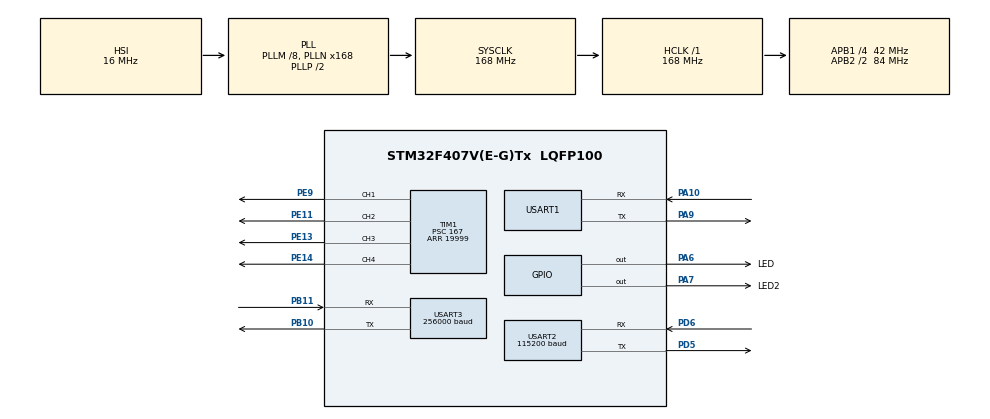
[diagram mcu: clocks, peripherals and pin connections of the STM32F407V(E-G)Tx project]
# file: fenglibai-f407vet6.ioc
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Dma.Request0=USART1_RX
Dma.Request1=USART2_TX
Dma.USART1_RX.0.Direction=DMA_PERIPH_TO_MEMORY
Dma.USART1_RX.0.FIFOMode=DMA_FIFOMODE_DISABLE
Dma.USART1_RX.0.Instance=DMA2_Stream2
Dma.USART1_RX.0.MemDataAlignment=DMA_MDATAALIGN_BYTE
Dma.USART1_RX.0.MemInc=DMA_MINC_ENABLE
Dma.USART1_RX.0.Mode=DMA_CIRCULAR
Dma.USART1_RX.0.PeriphDataAlignment=DMA_PDATAALIGN_BYTE
Dma.USART1_RX.0.PeriphInc=DMA_PINC_DISABLE
Dma.USART1_RX.0.Priority=DMA_PRIORITY_HIGH
Dma.USART2_TX.1.Direction=DMA_MEMORY_TO_PERIPH
Dma.USART2_TX.1.FIFOMode=DMA_FIFOMODE_ENABLE
Dma.USART2_TX.1.FIFOThreshold=DMA_FIFO_THRESHOLD_FULL
Dma.USART2_TX.1.Instance=DMA1_Stream6
Dma.USART2_TX.1.MemBurst=DMA_MBURST_SINGLE
Dma.USART2_TX.1.MemDataAlignment=DMA_MDATAALIGN_BYTE
Dma.USART2_TX.1.MemInc=DMA_MINC_ENABLE
Dma.USART2_TX.1.Mode=DMA_NORMAL
Dma.USART2_TX.1.PeriphBurst=DMA_PBURST_SINGLE
Dma.USART2_TX.1.PeriphDataAlignment=DMA_PDATAALIGN_BYTE
Dma.USART2_TX.1.PeriphInc=DMA_PINC_DISABLE
Dma.USART2_TX.1.Priority=DMA_PRIORITY_LOW
Mcu.Family=STM32F4
Mcu.Name=STM32F407V(E-G)Tx
Mcu.Package=LQFP100
NVIC.DMA1_Stream6_IRQn=true\:0\:0\:false\:false\:true\:false\:true
NVIC.DMA2_Stream2_IRQn=true\:0\:0\:false\:false\:true\:false\:true
NVIC.PriorityGroup=NVIC_PRIORITYGROUP_4
NVIC.TIM2_IRQn=true\:0\:0\:false\:false\:true\:true\:true
NVIC.USART1_IRQn=true\:0\:0\:false\:false\:false\:true\:true
NVIC.USART2_IRQn=true\:0\:0\:false\:false\:false\:true\:true
NVIC.USART3_IRQn=true\:0\:0\:false\:false\:false\:true\:true
PA10.Mode=Asynchronous
PA10.Signal=USART1_RX
PA13.Mode=Serial_Wire
PA13.Signal=SYS_JTMS-SWDIO
PA14.Mode=Serial_Wire
PA14.Signal=SYS_JTCK-SWCLK
PA6.GPIO_Label=LED
PA6.PinState=GPIO_PIN_SET
PA6.Signal=GPIO_Output
PA7.GPIO_Label=LED2
PA7.PinState=GPIO_PIN_SET
PA7.Signal=GPIO_Output
PA9.Mode=Asynchronous
PA9.Signal=USART1_TX
PB10.Mode=Asynchronous
PB10.Signal=USART3_TX
PB11.Mode=Asynchronous
PB11.Signal=USART3_RX
PC14-OSC32_IN.Mode=LSE-External-Oscillator
PC14-OSC32_IN.Signal=RCC_OSC32_IN
PC15-OSC32_OUT.Mode=LSE-External-Oscillator
PC15-OSC32_OUT.Signal=RCC_OSC32_OUT
PD5.Mode=Asynchronous
PD5.Signal=USART2_TX
PD6.Mode=Asynchronous
PD6.Signal=USART2_RX
PE11.Signal=S_TIM1_CH2
PE13.Signal=S_TIM1_CH3
PE14.Signal=S_TIM1_CH4
PE9.Signal=S_TIM1_CH1
PH0-OSC_IN.Mode=HSE-External-Oscillator
PH0-OSC_IN.Signal=RCC_OSC_IN
PH1-OSC_OUT.Mode=HSE-External-Oscillator
PH1-OSC_OUT.Signal=RCC_OSC_OUT
ProjectManager.HeapSize=0x200
ProjectManager.StackSize=0x400
ProjectManager.TargetToolchain=MDK-ARM V5
RCC.48MHZClocksFreq_Value=84000000
RCC.AHBFreq_Value=168000000
RCC.APB1CLKDivider=RCC_HCLK_DIV4
RCC.APB1Freq_Value=42000000
RCC.APB1TimFreq_Value=84000000
RCC.APB2CLKDivider=RCC_HCLK_DIV2
RCC.APB2Freq_Value=84000000
RCC.APB2TimFreq_Value=168000000
RCC.CortexFreq_Value=168000000
RCC.HCLKFreq_Value=168000000
RCC.HSE_VALUE=8000000
RCC.HSI_VALUE=16000000
RCC.PLLM=8
RCC.PLLN=168
RCC.SYSCLKFreq_VALUE=168000000
RCC.SYSCLKSource=RCC_SYSCLKSOURCE_PLLCLK
RCC.VCOOutputFreq_Value=336000000
SH.S_TIM1_CH1.0=TIM1_CH1,PWM Generation1 CH1
SH.S_TIM1_CH2.0=TIM1_CH2,PWM Generation2 CH2
SH.S_TIM1_CH3.0=TIM1_CH3,PWM Generation3 CH3
SH.S_TIM1_CH4.0=TIM1_CH4,PWM Generation4 CH4
TIM1.AutoReloadPreload=TIM_AUTORELOAD_PRELOAD_ENABLE
TIM1.Channel-PWM\ Generation1\ CH1=TIM_CHANNEL_1
TIM1.Channel-PWM\ Generation2\ CH2=TIM_CHANNEL_2
TIM1.Channel-PWM\ Generation3\ CH3=TIM_CHANNEL_3
TIM1.Channel-PWM\ Generation4\ CH4=TIM_CHANNEL_4
TIM1.Period=19999
TIM1.Prescaler=167
TIM1.Pulse-PWM\ Generation1\ CH1=500
TIM1.Pulse-PWM\ Generation2\ CH2=500
TIM1.Pulse-PWM\ Generation3\ CH3=500
TIM1.Pulse-PWM\ Generation4\ CH4=500
TIM2.AutoReloadPreload=TIM_AUTORELOAD_PRELOAD_ENABLE
TIM2.Period=19999
TIM2.Prescaler=167
USART1.VirtualMode=VM_ASYNC
USART2.BaudRate=115200
USART2.VirtualMode=VM_ASYNC
USART3.BaudRate=256000
USART3.VirtualMode=VM_ASYNC
VP_TIM1_VS_ClockSourceINT.Mode=Internal
VP_TIM2_VS_ClockSourceINT.Mode=Internal
board=custom

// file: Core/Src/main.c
/* USER CODE BEGIN Header */
/**
  ******************************************************************************
  * @file           : main.c
  * @brief          : Main program body
  ******************************************************************************
  * @attention
  *
  * <h2><center>&copy; Copyright (c) 2021 STMicroelectronics.
  * All rights reserved.</center></h2>
  *
  * This software component is licensed by ST under BSD 3-Clause license,
  * the "License"; You may not use this file except in compliance with the
  * License. You may obtain a copy of the License at:
  *                        opensource.org/licenses/BSD-3-Clause
  *
  ******************************************************************************
  */
/* USER CODE END Header */
#include "main.h"
#include "dma.h"
#include "tim.h"
#include "usart.h"
#include "gpio.h"

/* USER CODE BEGIN Includes */
#include "math.h"
#include <stdio.h>
#include <string.h>

/* USER CODE END Includes */

/* USER CODE BEGIN PD */

#define LED_ON() HAL_GPIO_WritePin(LED_GPIO_Port, LED_Pin, GPIO_PIN_RESET)
#define LED_OFF() HAL_GPIO_WritePin(LED_GPIO_Port, LED_Pin, GPIO_PIN_SET)
#define LED_TOGGLE() HAL_GPIO_TogglePin(LED_GPIO_Port, LED_Pin)
#define LED2_ON() HAL_GPIO_WritePin(LED2_GPIO_Port, LED2_Pin, GPIO_PIN_RESET)
#define LED2_OFF() HAL_GPIO_WritePin(LED2_GPIO_Port, LED2_Pin, GPIO_PIN_SET)
#define LED2_TOGGLE() HAL_GPIO_TogglePin(LED2_GPIO_Port, LED2_Pin)

/* USER CODE END PD */

void SystemClock_Config(void);
/* USER CODE BEGIN PFP */
void MotorSet(int16_t angle1_pwm, int16_t angle2_pwm);
int16_t PID_angle1(float angle1_cur, float angle1_set);
int16_t PID_angle2(float angle2_cur, float angle2_set);
void _motorset(uint16_t m1, uint16_t m2, uint16_t m3, uint16_t m4);

/* USER CODE END PFP */

/* USER CODE BEGIN 0 */
#define ABS(x)		((x>0)? x: -x)

uint8_t MPUflag=0;
uint8_t MPUBuffer[22];
float MPU_a[3]={0};
float MPU_angle[3]={0};

int16_t angle1_motor=0, angle2_motor=0;

volatile float angle1_p=0, angle1_i=0, angle1_d=340;
volatile float angle2_p=0, angle2_i=0, angle2_d=340;
volatile float angle1_lasterror = 0, angle2_lasterror = 0;
volatile float angle1_sumerror = 0, angle2_sumerror = 0;
volatile float angle1_deadband = 0.1, angle2_deadband = 0.1;

volatile uint8_t mode=0;
float angle1_set=0, angle2_set=0;
volatile uint32_t counter1=0;

/* USER CODE END 0 */

int main(void)
{
  /* USER CODE BEGIN 1 */
//	const uint8_t SendBuffer[4]={0x03,0xFC,0xFC,0x03};  // 帧头

  /* USER CODE END 1 */

  /* MCU Configuration--------------------------------------------------------*/

  /* Reset of all peripherals, Initializes the Flash interface and the Systick. */
  HAL_Init();

  /* Configure the system clock */
  SystemClock_Config();

  /* Initialize all configured peripherals */
  MX_GPIO_Init();
  MX_DMA_Init();
  MX_TIM1_Init();
  MX_USART1_UART_Init();
  MX_USART2_UART_Init();
  MX_USART3_UART_Init();
  MX_TIM2_Init();
  /* USER CODE BEGIN 2 */

/* 	USART1: MPU9250 115200 DMA
		USART2: BLE 115200 DMA
		USART3: PC 256000 */

	My_UART_DMA_Init();
	HAL_TIM_PWM_Start(&htim1,TIM_CHANNEL_1);
	HAL_TIM_PWM_Start(&htim1,TIM_CHANNEL_2);
	HAL_TIM_PWM_Start(&htim1,TIM_CHANNEL_3);
	HAL_TIM_PWM_Start(&htim1,TIM_CHANNEL_4);
	__HAL_TIM_SET_COMPARE(&htim1, TIM_CHANNEL_1, 1000);  // 上电先拉低油门
	__HAL_TIM_SET_COMPARE(&htim1, TIM_CHANNEL_2, 1000);
	__HAL_TIM_SET_COMPARE(&htim1, TIM_CHANNEL_3, 1000);
	__HAL_TIM_SET_COMPARE(&htim1, TIM_CHANNEL_4, 1000);
	HAL_Delay(2000);
	HAL_TIM_Base_Start_IT(&htim2);
  /* USER CODE END 2 */

  /* Infinite loop */
  /* USER CODE BEGIN WHILE */
	const float T = 1850.4;  // 单摆周期 (ms)  T =2pi*sqrt(L / g)
	mode = 5;
  while (1)
  {
    /* USER CODE END WHILE */

    /* USER CODE BEGIN 3 */

		LED2_OFF();

		if(mode==0)
		{
			if(MPUflag)
			{
				__HAL_TIM_SET_COMPARE(&htim1, TIM_CHANNEL_1, 1000);
				__HAL_TIM_SET_COMPARE(&htim1, TIM_CHANNEL_2, 1000);
				__HAL_TIM_SET_COMPARE(&htim1, TIM_CHANNEL_3, 1000);
				__HAL_TIM_SET_COMPARE(&htim1, TIM_CHANNEL_4, 1000);
				MPUflag = 0;
				/* 虚拟示波器 */
//				HAL_UART_Transmit(&huart3, (uint8_t *)&SendBuffer[0], 1, 1);
//				HAL_UART_Transmit(&huart3, (uint8_t *)&SendBuffer[1], 1, 1);
//				HAL_UART_Transmit(&huart3, (uint8_t *)&MPU_angle, sizeof(float)*2, 1);
//				HAL_UART_Transmit(&huart3, (uint8_t *)&SendBuffer[2], 1, 1);
//				HAL_UART_Transmit(&huart3, (uint8_t *)&SendBuffer[3], 1, 1);
			}
		}
		else if(mode==1)
		{
			uint8_t status=0;
			angle1_p=0, angle1_i=0, angle1_d=700, angle1_deadband=0.1;
			angle2_p=5.5, angle2_i=1, angle2_d=350, angle2_deadband=0.2;
			angle2_set = 12;
			counter1 = 0;
			while(1)  // counter1 <= 375
			{
				if(MPUflag)
				{
					angle1_motor = -PID_angle1(MPU_angle[0], 0);
					if(status==0)
					{
						angle2_motor = -PID_angle2(MPU_angle[1], angle2_set);
						if(MPU_angle[1] > 0 && ABS(MPU_angle[1]-angle2_set) < angle2_deadband) status=1;
					}
					else if(status==1)
					{
						angle2_motor = -PID_angle2(MPU_angle[1], -angle2_set);
						if(MPU_angle[1] < 0 && ABS(MPU_angle[1]-angle2_set) < angle2_deadband) status=0;
					}
					MotorSet(angle1_motor, angle2_motor);
					MPUflag = 0;
				}
			}
		}
		else if(mode==2)
		{
			uint8_t status=0;
			uint8_t length=20;
			/*30cm: 7deg  40cm: 10deg  50cm: 12deg  60cm: 14deg*/
			angle2_set = 90 - atan(100/length)*180/3.1415926;
			angle1_p=0, angle1_i=0, angle1_d=700, angle1_deadband=0.1;
			angle2_p=5.5, angle2_i=1, angle2_d=350, angle2_deadband=0.2;
			counter1 = 0;
			while(1)  // counter1 <= 375
			{
				if(MPUflag)
				{
					angle1_motor = -PID_angle1(MPU_angle[0], 0);
					if(status==0)
					{
						angle2_motor = -PID_angle2(MPU_angle[1], angle2_set);
						if(MPU_angle[1] > 0 && ABS(MPU_angle[1]-angle2_set) < angle2_deadband) status=1;
					}
					else if(status==1)
					{
						angle2_motor = -PID_angle2(MPU_angle[1], -angle2_set);
						if(MPU_angle[1] < 0 && ABS(MPU_angle[1]-angle2_set) < angle2_deadband) status=0;
					}
					MotorSet(angle1_motor, angle2_motor);
					MPUflag = 0;
				}
			}
		}
		else if(mode==3)
		{

		}
		else if(mode==4)
		{
			if(MPUflag)
			{
				angle1_p=0, angle1_i=0, angle1_d=500, angle1_deadband=0.2;
				angle2_p=0, angle2_i=0, angle2_d=500, angle1_deadband=0.2;
				angle1_motor = -PID_angle1(MPU_angle[0], 0);
				angle2_motor = -PID_angle2(MPU_angle[1], 0);
				MotorSet(angle1_motor, angle2_motor);
				MPUflag = 0;
			}
		}
		else if(mode==5)
		{
			uint32_t cnt=0;
			uint8_t RoundDir = 0;
			float R=15;  // 地面划线长度
			float norm=0, omega, phase, A;
			angle1_p=6.5, angle1_i=1, angle1_d=420, angle1_deadband=0.1;  // 6 2
			angle2_p=6.5, angle2_i=1, angle2_d=420, angle2_deadband=0.1;
			while(1)
			{
				if(MPUflag)
				{
					cnt+=5;
					norm = cnt/T;
					omega = 2.0f*3.1415926f*norm;
					A = atan(R/100)*180.0f/3.1415926f;
					if(RoundDir == 0) phase=3.1415926f/2.0f;  // 顺时针
					else if(RoundDir == 1) phase=3.1415926*3/2;  // 逆时针
					angle1_set = A*sin(omega+0.1f);
					angle2_set = A*sin(omega+phase);
					angle1_motor = -PID_angle1(MPU_angle[0], angle1_set);
					angle2_motor = -PID_angle2(MPU_angle[1], angle2_set);
					MotorSet(angle1_motor, angle2_motor);
					MPUflag = 0;
				}
			}
		}

  }
  /* USER CODE END 3 */
}

void SystemClock_Config(void)
{
  RCC_OscInitTypeDef RCC_OscInitStruct = {0};
  RCC_ClkInitTypeDef RCC_ClkInitStruct = {0};

  /** Configure the main internal regulator output voltage
  */
  __HAL_RCC_PWR_CLK_ENABLE();
  __HAL_PWR_VOLTAGESCALING_CONFIG(PWR_REGULATOR_VOLTAGE_SCALE1);
  /** Initializes the RCC Oscillators according to the specified parameters
  * in the RCC_OscInitTypeDef structure.
  */
  RCC_OscInitStruct.OscillatorType = RCC_OSCILLATORTYPE_HSI;
  RCC_OscInitStruct.HSIState = RCC_HSI_ON;
  RCC_OscInitStruct.HSICalibrationValue = RCC_HSICALIBRATION_DEFAULT;
  RCC_OscInitStruct.PLL.PLLState = RCC_PLL_ON;
  RCC_OscInitStruct.PLL.PLLSource = RCC_PLLSOURCE_HSI;
  RCC_OscInitStruct.PLL.PLLM = 8;
  RCC_OscInitStruct.PLL.PLLN = 168;
  RCC_OscInitStruct.PLL.PLLP = RCC_PLLP_DIV2;
  RCC_OscInitStruct.PLL.PLLQ = 4;
  if (HAL_RCC_OscConfig(&RCC_OscInitStruct) != HAL_OK)
  {
    Error_Handler();
  }
  /** Initializes the CPU, AHB and APB buses clocks
  */
  RCC_ClkInitStruct.ClockType = RCC_CLOCKTYPE_HCLK|RCC_CLOCKTYPE_SYSCLK
                              |RCC_CLOCKTYPE_PCLK1|RCC_CLOCKTYPE_PCLK2;
  RCC_ClkInitStruct.SYSCLKSource = RCC_SYSCLKSOURCE_PLLCLK;
  RCC_ClkInitStruct.AHBCLKDivider = RCC_SYSCLK_DIV1;
  RCC_ClkInitStruct.APB1CLKDivider = RCC_HCLK_DIV4;
  RCC_ClkInitStruct.APB2CLKDivider = RCC_HCLK_DIV2;

  if (HAL_RCC_ClockConfig(&RCC_ClkInitStruct, FLASH_LATENCY_5) != HAL_OK)
  {
    Error_Handler();
  }
}

/* USER CODE BEGIN 4 */

#define ANGLE1_I_MAX 3
#define ANGLE2_I_MAX 3

int16_t PID_angle1(float angle1_cur, float angle1_set)
{
	/* input:   angle1(MPU)
	 * output:  PWM */
	float iError, dError;
	static float out;
	iError = angle1_cur - angle1_set;
	angle1_sumerror += iError;
	if(angle1_sumerror > ANGLE1_I_MAX)
			angle1_sumerror = ANGLE1_I_MAX;
	else if(angle1_sumerror < -ANGLE1_I_MAX)
			angle1_sumerror = -ANGLE1_I_MAX;
	dError = iError - angle1_lasterror;
	angle1_lasterror = iError;
	if(ABS(iError) > angle1_deadband)
		out = (int16_t)(angle1_p * iError + angle1_i * angle1_sumerror + angle1_d * dError);
	return out;
}
int16_t PID_angle2(float angle2_cur, float angle2_set)
{
	/* input:   angle2(MPU)
	 * output:  PWM */
	float iError, dError;
	static float out;
	iError = angle2_cur - angle2_set;
	angle2_sumerror += iError;
	if(angle2_sumerror > ANGLE2_I_MAX)
			angle2_sumerror = ANGLE2_I_MAX;
	else if(angle2_sumerror < -ANGLE2_I_MAX)
			angle2_sumerror = -ANGLE2_I_MAX;
	dError = iError - angle2_lasterror;
	angle2_lasterror = iError;
	if(ABS(iError) > angle2_deadband)
		out = (int16_t)(angle2_p * iError + angle2_i * angle2_sumerror + angle2_d * dError);
	return out;
}

#define ANGLE1_MAX 80
#define ANGLE2_MAX 80
#define PWM_INIT 1060
#define PWM1_MAX PWM_INIT+ANGLE2_MAX
#define PWM2_MAX PWM_INIT+ANGLE1_MAX
#define PWM3_MAX PWM_INIT+ANGLE2_MAX
#define PWM4_MAX PWM_INIT+ANGLE1_MAX
void _motorset(uint16_t m1, uint16_t m2, uint16_t m3, uint16_t m4)
{
	if(m1 > PWM1_MAX) m1=PWM1_MAX;
	else if(m1 < PWM_INIT) m1=PWM_INIT;
	if(m2 > PWM2_MAX) m2=PWM2_MAX;
	else if(m2 < PWM_INIT) m2=PWM_INIT;
	if(m3 > PWM3_MAX) m3=PWM3_MAX;
	else if(m3 < PWM_INIT) m3=PWM_INIT;
	if(m4 > PWM4_MAX) m4=PWM4_MAX;
	else if(m4 < PWM_INIT) m4=PWM_INIT;

	__HAL_TIM_SET_COMPARE(&htim1, TIM_CHANNEL_1, m1);
	__HAL_TIM_SET_COMPARE(&htim1, TIM_CHANNEL_2, m2);
	__HAL_TIM_SET_COMPARE(&htim1, TIM_CHANNEL_3, m3);
	__HAL_TIM_SET_COMPARE(&htim1, TIM_CHANNEL_4, m4);
}

void MotorSet(int16_t _angle1_motor, int16_t _angle2_motor)
{
	uint16_t m1, m2, m3, m4;

	if(_angle1_motor>ANGLE1_MAX) _angle1_motor=ANGLE1_MAX;
	else if(_angle1_motor<-ANGLE1_MAX) _angle1_motor=-ANGLE1_MAX;
	if(_angle2_motor>ANGLE2_MAX) _angle2_motor=ANGLE2_MAX;
	else if(_angle2_motor<-ANGLE2_MAX) _angle2_motor=-ANGLE2_MAX;

	m1=PWM_INIT-_angle2_motor, m3=PWM_INIT+_angle2_motor;
	m2=PWM_INIT-_angle1_motor, m4=PWM_INIT+_angle1_motor;
	_motorset(m1, m2, m3, m4);
}

void HAL_TIM_PeriodElapsedCallback(TIM_HandleTypeDef *htim)
{
	static uint16_t i=0, counter500ms=0, status=0;
	if (htim == (&htim2))  // 40ms
	{
		i++;
		if(i>=25)
		{
			LED_TOGGLE();
			i=0;
		}
		counter500ms++;
		if(counter500ms>=7)
		{
			char buf[40]={'0'};
			if(status==0)
			{
				sprintf(buf, "Angle1:%+6.2f\r\n", MPU_angle[0]);
				HAL_UART_Transmit_DMA(&huart2, (uint8_t*)&buf[0], 15);
				status = 1;
			}
			else if(status==1)
			{
				sprintf(buf, "Angle2:%+6.2f\r\n", MPU_angle[1]);
				HAL_UART_Transmit_DMA(&huart2, (uint8_t*)&buf[0], 15);
				status = 0;
			}
			sprintf(buf, "Angle2:%+6.2f\r\n", MPU_angle[1]);
				HAL_UART_Transmit_DMA(&huart2, (uint8_t*)&buf[0], 15);
			counter500ms = 0;
		}
//		counter1++;
	}
}

void USART1_IRQHandler(void)
{
	uint8_t errorcounter;

  HAL_UART_IRQHandler(&huart1);
	My_UART_RESET_RX_CALLBACK(&huart1);

	if(MPUBuffer[21]!=0)
	{
		errorcounter=0;
		if(MPUBuffer[10]==(uint8_t)(MPUBuffer[0]+MPUBuffer[1]+MPUBuffer[2]+MPUBuffer[3]+MPUBuffer[4]+
										MPUBuffer[5]+MPUBuffer[6]+MPUBuffer[7]+MPUBuffer[8]+MPUBuffer[9])&&MPUBuffer[0]!=0&&MPUBuffer[1]==0x51)
		{
			MPU_a[0] = ((short)(MPUBuffer[3]<<8 | MPUBuffer[2]))/32768.0f*16*9.8f;
			MPU_a[1] = ((short)(MPUBuffer[5]<<8 | MPUBuffer[4]))/32768.0f*16*9.8f;
			MPU_a[2] = ((short)(MPUBuffer[7]<<8 | MPUBuffer[6]))/32768.0f*16*9.8f;
		}
		else errorcounter++;
		if(MPUBuffer[10+11]==(uint8_t)(MPUBuffer[0+11]+MPUBuffer[1+11]+MPUBuffer[2+11]+MPUBuffer[3+11]+MPUBuffer[4+11]+
										MPUBuffer[5+11]+MPUBuffer[6+11]+MPUBuffer[7+11]+MPUBuffer[8+11]+MPUBuffer[9+11])&&MPUBuffer[0+11]!=0&&MPUBuffer[1+11]==0x53)
		{
			MPU_angle[0] = ((short)(MPUBuffer[3+11]<<8| MPUBuffer[2+11]))/32768.0f*180;
			MPU_angle[1] = ((short)(MPUBuffer[5+11]<<8| MPUBuffer[4+11]))/32768.0f*180;
			MPU_angle[2] = ((short)(MPUBuffer[7+11]<<8| MPUBuffer[6+11]))/32768.0f*180;
			MPU_angle[0] += 1.6f;  // 修正安装误差
		}
		else errorcounter++;

		if(errorcounter>1) //纠错
		{
			__HAL_DMA_DISABLE(huart1.hdmarx);  //关闭通道
			huart1.hdmarx->Instance->NDTR=sizeof(MPUBuffer); //写寄存器 CNDTR：DMA传输剩余字节数（当通道开启时只读）
			__HAL_DMA_ENABLE(huart1.hdmarx);   //开启通道
		}
		else  // 无错
			MPUflag = 1, LED2_ON();
	}
}

void USART2_IRQHandler(void)
{
  HAL_UART_IRQHandler(&huart2);
}

void USART3_IRQHandler(void)
{
  HAL_UART_IRQHandler(&huart3);
}

void HAL_Delay(uint32_t Delay)
{
  uint32_t tickstart = HAL_GetTick();
  uint32_t wait = Delay;

  /* Add a freq to guarantee minimum wait */
  if (wait < HAL_MAX_DELAY)
  {
//    wait += (uint32_t)(uwTickFreq);
  }

  while ((HAL_GetTick() - tickstart) < wait)
  {
  }
}

/* USER CODE END 4 */

void Error_Handler(void)
{
  __disable_irq();
  while (1)
  {
  }
}

/************************ (C) COPYRIGHT STMicroelectronics *****END OF FILE****/
